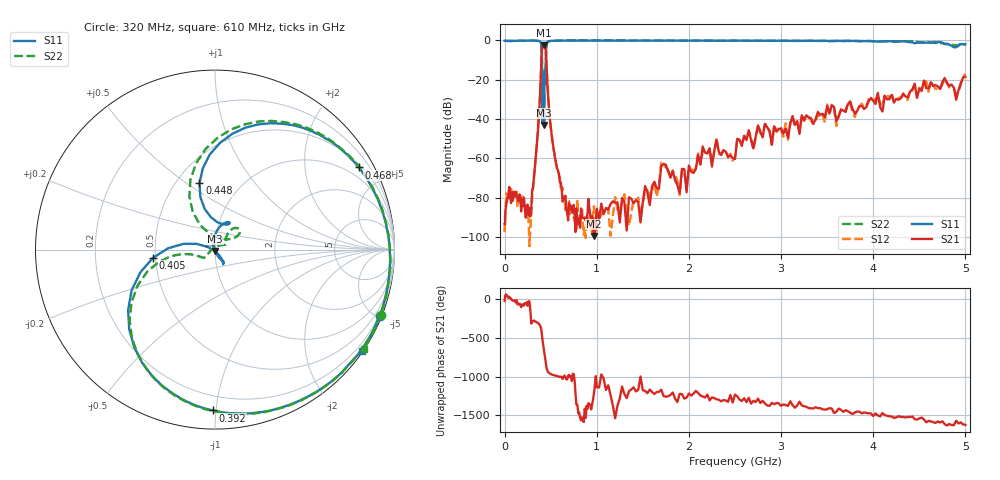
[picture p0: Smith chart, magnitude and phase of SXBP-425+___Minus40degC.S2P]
! Mini-Circuits
! S2P DATA File Format
! Type: BAND PASS FILTER
! Model: SXBP-425+
! All S Parameters are in dB deg format
! TEST CONDITIONS: INPUT POWER = 0 dBm @ Temperature = - 40 deg C
! 401 Frequency points
# MHz S DB R 50
!FREQMAG(S11)PHS(S11)MAG(S12)PHS(S12)MAG(S21)PHS(S21)MAG(S22)PHS(S22)
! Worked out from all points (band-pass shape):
!   401 points, 500 kHz to 5 GHz, reference 50 ohm
!   highest |S21| = -2.27 dB at 427 MHz (marker M1); lowest = -99.5 dB at 970 MHz (marker M2)
!   |S21| within 3 dB of the highest: 404.8 MHz to 448.4 MHz (43.58 MHz wide, 10.2 % of centre)
!   lowest |S11| = -43.0 dB at 429 MHz (marker M3), VSWR 1.01, Z = 50.1 - j0.703 ohm
!   |S11| at or under -10 dB: 405.3 MHz to 447.2 MHz (41.85 MHz wide, 9.82 % of centre)
!   |S22| runs from -38.7 to 0.0 dB; largest |S21 - S12| = 0.03
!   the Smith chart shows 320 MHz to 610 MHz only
!   S11 on the Smith chart (normalised r, x): 320 MHz: 0.11, -5.17; 392 MHz: 0.11, -0.98; 405 MHz: 0.48, -0.05; 448 MHz: 0.65, +0.56; 468 MHz: 0.60, +3.67; 610 MHz: 0.03, -3.21
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0.5  -0.13 179.2  -93.45 -26.6  -97.60 169.1  -0.12 179.2
80  -0.23 83.8  -77.52 -16.5  -77.55 -20.1  -0.23 84.5
270  -0.05 -3.8  -85.30 -31.9  -104.76 -25.4  -0.05 -3.5
320  -0.07 -21.9  -69.36 81.2  -68.66 70.8  -0.06 -21.5
392  -0.95 -90.7  -20.37 -3.2  -20.31 -3.1  -0.90 -90.1
405  -9.16 -172.4  -5.11 -98.2  -5.06 -98.6  -8.02 -162.0
410  -41.94 -103.4  -3.02 -153.0  -2.99 -153.4  -19.33 -162.1
418  -20.87 -59.4  -2.39 136.8  -2.38 136.4  -37.39 168.1
427  -27.56 -65.3  -2.27 68.5  -2.27 68.4  -23.06 27.3
429  -42.98 -81.3  -2.29 53.7  -2.30 53.5  -22.32 37.5
438  -15.54 66.3  -2.67 -14.1  -2.65 -14.5  -15.07 40.6
448  -8.40 103.1  -4.98 -107.8  -4.99 -108.3  -9.70 115.9
468  -0.71 29.8  -24.76 148.9  -24.75 148.9  -0.74 32.3
510  -0.17 -5.9  -47.72 107.9  -47.77 108.0  -0.18 -4.7
610  -0.05 -34.6  -72.16 77.0  -74.91 78.3  -0.04 -33.6
840  0.00 -70.8  -90.05 -84.9  -85.48 -126.9  0.00 -69.8
970  -0.01 -87.7  -99.55 -137.0  -84.41 -111.7  0.01 -86.8
1675  -0.05 -170.9  -75.51 -117.5  -73.44 -142.2  -0.03 -169.2
2525  -0.07 95.2  -50.03 -175.7  -49.91 178.9  -0.13 97.8
3350  -0.14 8.1  -42.49 28.1  -42.46 33.3  -0.15 10.3
4175  -0.35 -83.3  -29.77 -72.3  -30.03 -77.1  -0.59 -83.5
5000  -1.93 -175.8  -18.50 176.8  -17.03 -174.1  -1.99 -175.4
